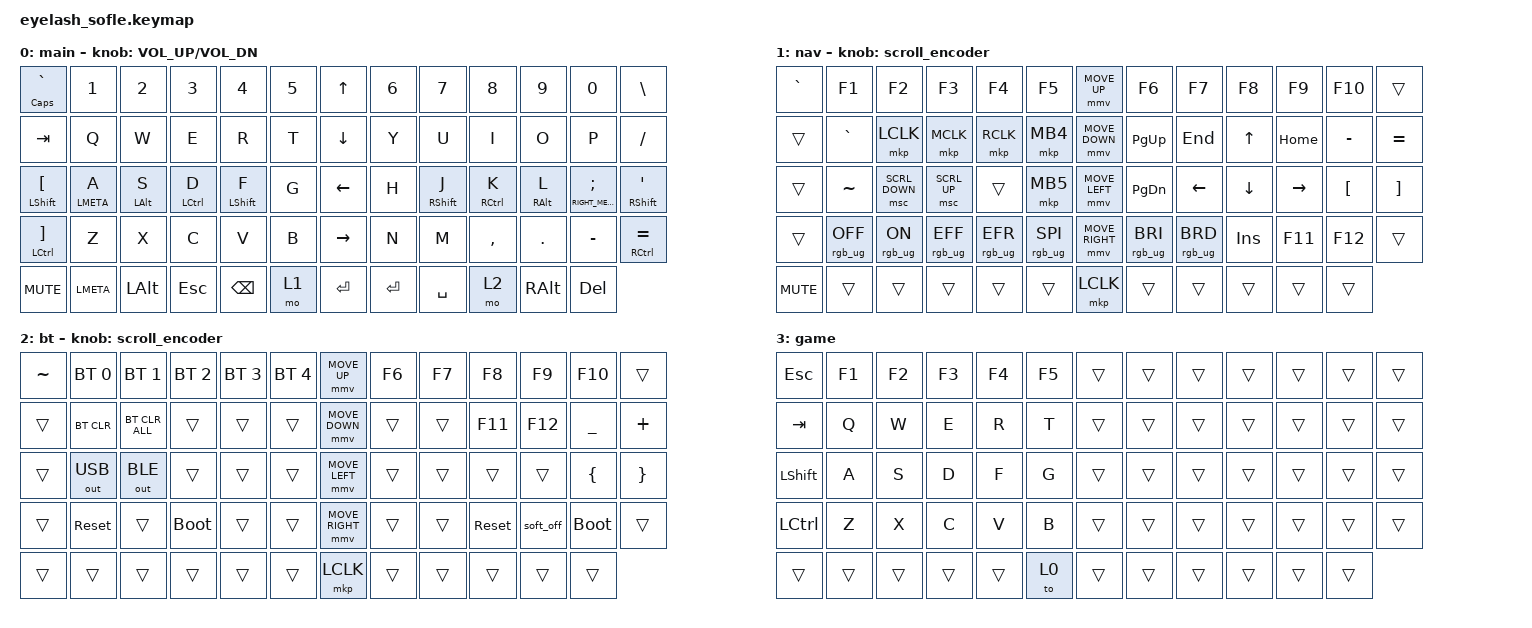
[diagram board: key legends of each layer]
#define ZMK_POINTING_DEFAULT_MOVE_VAL 1200  // 600
#define ZMK_POINTING_DEFAULT_SCRL_VAL 25   // 10

#include <input/processors.dtsi>
#include <zephyr/dt-bindings/input/input-event-codes.h>
#include <behaviors.dtsi>
#include <dt-bindings/zmk/bt.h>
#include <dt-bindings/zmk/keys.h>
#include <dt-bindings/zmk/outputs.h>
#include <dt-bindings/zmk/pointing.h>
#include <dt-bindings/zmk/rgb.h>

&mmv_input_listener { input-processors = <&zip_xy_scaler 2 1>; };

&msc_input_listener { input-processors = <&zip_scroll_scaler 2 1>; };

&msc {
    acceleration-exponent = <1>;      // 0
    time-to-max-speed-ms = <100>;       // 300
    delay-ms = <0>;                   // 0
};

&mmv {
    time-to-max-speed-ms = <500>;
    acceleration-exponent = <1>;
    trigger-period-ms = <16>;
};

&soft_off { hold-time-ms = <2000>; };

/ {
    scroll_encoder: scroll_encoder {
        compatible = "zmk,behavior-sensor-rotate";
        #sensor-binding-cells = <0>;
        bindings = <&msc SCRL_DOWN>, <&msc SCRL_UP>;

        tap-ms = <100>;
    };

    behaviors {
        mt_home: mod_tap_home {
            compatible = "zmk,behavior-hold-tap";
            #binding-cells = <2>;
            flavor = "tap-preferred";
            tapping-term-ms = <280>;
            quick-tap-ms = <175>;
            bindings = <&kp>, <&kp>;
        };
    };

    combos {
        compatible = "zmk,combos";

        softoff {
            bindings = <&soft_off>;
            key-positions = <14 28 40>;
        };

        to_gaming_layer {
            bindings = <&to 3>;
            key-positions = <56 63>;
        };
    };

    keymap {
        compatible = "zmk,keymap";

        main {
            bindings = <
&mt CAPS GRAVE                  &kp N1            &kp N2               &kp N3                   &kp N4                 &kp N5    &kp UP_ARROW     &kp N6     &kp N7                  &kp N8                    &kp N9                &kp N0                    &kp BACKSLASH
&kp TAB                         &kp Q             &kp W                &kp E                    &kp R                  &kp T     &kp DOWN_ARROW   &kp Y      &kp U                   &kp I                     &kp O                 &kp P                     &kp SLASH
&mt LEFT_SHIFT LEFT_BRACKET     &mt_home LMETA A  &mt_home LEFT_ALT S  &mt_home LEFT_CONTROL D  &mt_home LEFT_SHIFT F  &kp G     &kp LEFT_ARROW   &kp H      &mt_home RIGHT_SHIFT J  &mt_home RIGHT_CONTROL K  &mt_home RIGHT_ALT L  &mt_home RIGHT_META SEMI  &mt RIGHT_SHIFT APOS
&mt LEFT_CONTROL RIGHT_BRACKET  &kp Z             &kp X                &kp C                    &kp V                  &kp B     &kp RIGHT_ARROW  &kp N      &kp M                   &kp COMMA                 &kp DOT               &kp MINUS                 &mt RIGHT_CONTROL EQUAL
&kp C_MUTE                      &kp LMETA         &kp LEFT_ALT         &kp ESCAPE               &kp BACKSPACE          &mo 1     &kp ENTER        &kp ENTER  &kp SPACE               &mo 2                     &kp RIGHT_ALT         &kp DELETE
            >;

            sensor-bindings = <&inc_dec_kp C_VOLUME_UP C_VOL_DN>;
            display-name = "main";
        };

        nav {
            bindings = <
&kp GRAVE   &kp F1           &kp F2          &kp F3           &kp F4           &kp F5             &mmv MOVE_UP     &kp F6           &kp F7           &kp F8      &kp F9     &kp F10           &trans
&trans      &kp GRAVE        &mkp LCLK       &mkp MCLK        &mkp RCLK        &mkp MB4           &mmv MOVE_DOWN   &kp PG_UP        &kp END          &kp UP      &kp HOME   &kp MINUS         &kp EQUAL
&trans      &kp TILDE        &msc SCRL_DOWN  &msc SCRL_UP     &trans           &mkp MB5           &mmv MOVE_LEFT   &kp PG_DN        &kp LEFT         &kp DOWN    &kp RIGHT  &kp LEFT_BRACKET  &kp RIGHT_BRACKET
&trans      &rgb_ug RGB_OFF  &rgb_ug RGB_ON  &rgb_ug RGB_EFF  &rgb_ug RGB_EFR  &rgb_ug RGB_SPI    &mmv MOVE_RIGHT  &rgb_ug RGB_BRI  &rgb_ug RGB_BRD  &kp INSERT  &kp F11    &kp F12           &trans
&kp C_MUTE  &trans           &trans          &trans           &trans           &trans             &mkp LCLK        &trans           &trans           &trans      &trans     &trans
            >;

            display-name = "nav";
            sensor-bindings = <&scroll_encoder>;
        };

        bt {
            bindings = <
&kp TILDE  &bt BT_SEL 0  &bt BT_SEL 1    &bt BT_SEL 2  &bt BT_SEL 3  &bt BT_SEL 4    &mmv MOVE_UP     &kp F6  &kp F7  &kp F8      &kp F9     &kp F10      &trans
&trans     &bt BT_CLR    &bt BT_CLR_ALL  &trans        &trans        &trans          &mmv MOVE_DOWN   &trans  &trans  &kp F11     &kp F12    &kp UNDER    &kp PLUS
&trans     &out OUT_USB  &out OUT_BLE    &trans        &trans        &trans          &mmv MOVE_LEFT   &trans  &trans  &trans      &trans     &kp LBRC     &kp RBRC
&trans     &sys_reset    &trans          &bootloader   &trans        &trans          &mmv MOVE_RIGHT  &trans  &trans  &sys_reset  &soft_off  &bootloader  &trans
&trans     &trans        &trans          &trans        &trans        &trans          &mkp LCLK        &trans  &trans  &trans      &trans     &trans
            >;

            sensor-bindings = <&scroll_encoder>;
        };

        game {
            bindings = <
&kp ESC    &kp F1  &kp F2  &kp F3  &kp F4  &kp F5    &trans  &trans  &trans  &trans  &trans  &trans  &trans
&kp TAB    &kp Q   &kp W   &kp E   &kp R   &kp T     &trans  &trans  &trans  &trans  &trans  &trans  &trans
&kp LSHFT  &kp A   &kp S   &kp D   &kp F   &kp G     &trans  &trans  &trans  &trans  &trans  &trans  &trans
&kp LCTRL  &kp Z   &kp X   &kp C   &kp V   &kp B     &trans  &trans  &trans  &trans  &trans  &trans  &trans
&trans     &trans  &trans  &trans  &trans  &to 0     &trans  &trans  &trans  &trans  &trans  &trans
            >;
        };
    };
};
